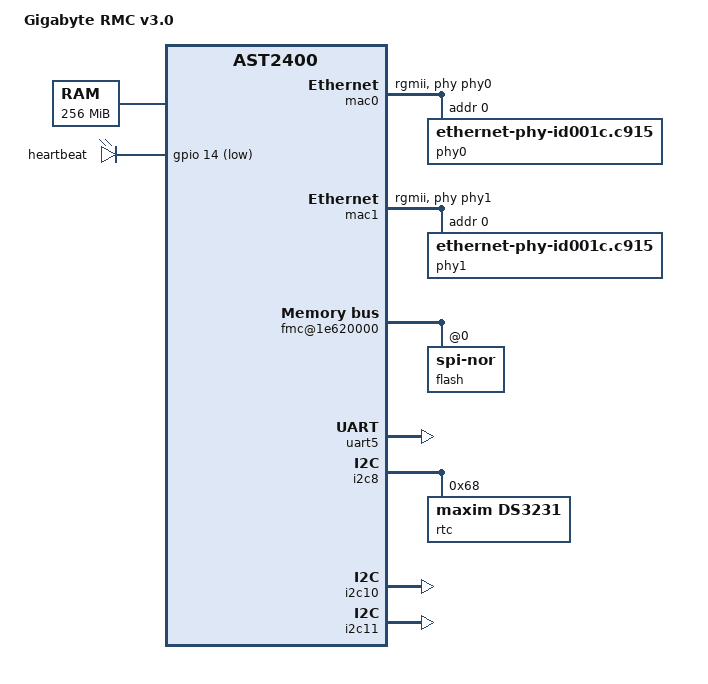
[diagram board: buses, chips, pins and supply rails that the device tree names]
/dts-v1/;

#include "aspeed-g4.dtsi"
#include <dt-bindings/gpio/gpio.h>
#include <dt-bindings/gpio/aspeed-gpio.h>

/ {
	model = "Gigabyte RMC v3.0";
	compatible = "openbmc,common", "aspeed,ast2400";

	aliases {
		serial4 = &uart5;
	};

	chosen {
		stdout-path = &uart5;
		bootargs = "console=ttyS4,115200 earlyprintk";
	};

	memory {
		reg = < 0x40000000 0x10000000 >;
	};

	ahb {
		mac0: ethernet@1e660000 {
			status = "okay";

			no-hw-checksum;

			phy-handle = <&phy0>;
			phy-mode = "rgmii";

			phy0: phy@0 {
				compatible = "ethernet-phy-id001c.c915",
					     "ethernet-phy-ieee802.3-c22";
				reg = <0>;
			};
		};

		mac1: ethernet@1e680000 {
			status = "okay";

			no-hw-checksum;

			phy-handle = <&phy1>;
			phy-mode = "rgmii";

			phy1: phy@0 {
				compatible = "ethernet-phy-id001c.c915",
					     "ethernet-phy-ieee802.3-c22";
				reg = <0>;
			};
		};

		fmc@1e620000 {
			reg = < 0x1e620000 0x94
				0x20000000 0x02000000 >;
			#address-cells = <1>;
			#size-cells = <0>;
			compatible = "aspeed,ast2400-fmc";
			flash@0 {
				reg = < 0 >;
				compatible = "jedec,spi-nor" ;
				/* label = "bmc"; */
				/*
				 * Possibly required props:
				 * spi-max-frequency = <>
				 * spi-tx-bus-width = <>
				 * spi-rx-bus-width  = <>
				 * m25p,fast-read
				 * spi-cpol if inverse clock polarity (CPOL)
				 * spi-cpha if shifted clock phase (CPHA)
				 */
/* #include "aspeed-rmc-32M-flash-layout.dtsi" */
#include "aspeed-bmc-opp-flash-layout.dtsi"
			};
		};
	};

           leds {
                compatible = "gpio-leds";
                heartbeat {
                    label = "heartbeat";
                    gpios = <&gpio 14 GPIO_ACTIVE_LOW>;
                    linux,default-trigger = "heartbeat";
                };
           };
};

&uart5 {
	status = "okay";
};

&i2c8 {
	status = "okay";

	rtc@68 {
		compatible = "maxim,ds3231";
		reg = <0x68>;
		// interrupts = <GPIOF0>
	};
};

&i2c10 {
	status = "okay";
};

&i2c11 {
	status = "okay";
};
